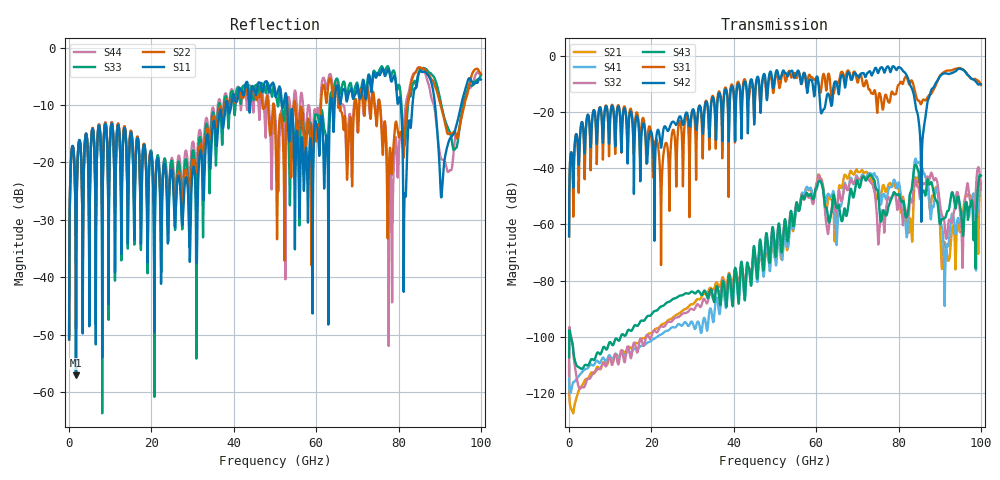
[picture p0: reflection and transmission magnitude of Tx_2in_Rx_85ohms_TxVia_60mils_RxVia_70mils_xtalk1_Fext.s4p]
! Info: Touchstone file created by Circ.  Input file=Tx_2in_Rx_85ohms_TxVia_60mils_RxVia_70mils.circ
# Hz S RI R 50
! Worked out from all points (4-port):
!   10000 points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, 10 MHz to 100 GHz, reference 50 ohm
!   strongest paths, dB at 10 MHz, 25.01 GHz, 50.01 GHz, 75.01 GHz, 100 GHz:
!     S42: -64.2, -23.5, -7.3, -6.0, -10.0
!     S31: -64.2, -27.4, -8.1, -16.4, -10.2
!     S43: -107.4, -86.8, -69.7, -48.4, -42.6
!     S32: -114.2, -94.5, -67.8, -65.8, -47.7
!     S41: -109.6, -96.7, -71.2, -44.4, -44.6
!     S21: -110.3, -93.5, -72.4, -49.1, -45.3
!   lowest |S11| = -57.1 dB at 1.68 GHz (marker M1), VSWR 1.00, Z = 50 - j0.139 ohm
!   |S11| at or under -10 dB: start of sweep to 38.05 GHz; 52.95 GHz to 63.45 GHz (10.51 GHz wide, 18.1 % of centre); 88.87 GHz to 95.21 GHz (6.336 GHz wide, 6.88 % of centre)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
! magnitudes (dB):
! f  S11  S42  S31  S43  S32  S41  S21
! 10 MHz  -50.8  -64.2  -64.2  -107.4  -114.2  -109.6  -110.3
! 1.68 GHz  -57.1  -27.9  -27.9  -109.8  -113.3  -115.4  -122.4
! 63.34 GHz  -11.5  -15.1  -8.5  -58.3  -58.2  -49.7  -50.6
! 78.03 GHz  -5.3  -5.6  -15.0  -51.6  -51.2  -46.7  -45.2
! 84.39 GHz  -6.3  -19.4  -14.7  -39.2  -45.4  -37.5  -45.9
! 91.43 GHz  -18.5  -6.1  -5.3  -57.3  -64.1  -72.9  -67.4
! 100 GHz  -5.6  -10.0  -10.2  -42.6  -47.7  -44.6  -45.3
